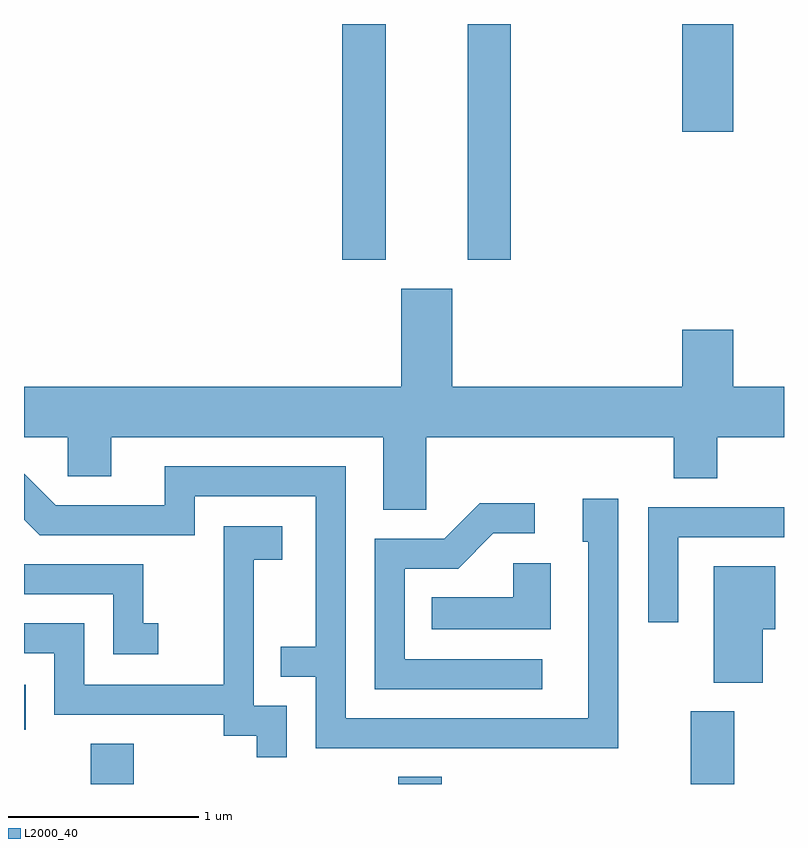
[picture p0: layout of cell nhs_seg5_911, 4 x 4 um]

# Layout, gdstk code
import gdstk
lib = gdstk.Library(unit=1e-6, precision=1e-09)
def R(c, l, rs):  # rectangles x0, y0, x1, y1
    for r in rs: c.add(gdstk.rectangle(r[:2], r[2:], *l))
def P(c, l, *ps):  # polygons
    for p in ps: c.add(gdstk.Polygon(p, *l))
L2000_40 = (2000, 40)

nhs_seg5_911 = lib.new_cell('nhs_seg5_911')
R(nhs_seg5_911, L2000_40, [(211.961,1466.072,212.189,1466.284), (213.581,1466.072,213.809,1466.109), (215.121,1466.072,215.349,1466.454), (211.611,1466.358,211.619,1466.594), (213.286,1468.831,213.514,1470.072), (213.946,1468.831,214.174,1470.072), (215.076,1469.506,215.344,1470.072)])
P(nhs_seg5_911, L2000_40, [(213.729,1467.896),(215.031,1467.896),(215.031,1467.681),(215.259,1467.681),(215.259,1467.896),(215.611,1467.896),(215.611,1468.164),(215.344,1468.164),(215.344,1468.464),(215.076,1468.464),(215.076,1468.164),(213.864,1468.164),(213.864,1468.679),(213.596,1468.679),(213.596,1468.164),(211.611,1468.164),(211.611,1467.896),(211.841,1467.896),(211.841,1467.691),(212.069,1467.691),(212.069,1467.896),(213.501,1467.896),(213.501,1467.516),(213.729,1467.516)],
  [(214.739,1467.574),(214.551,1467.574),(214.551,1467.346),(214.581,1467.346),(214.581,1466.419),(213.304,1466.419),(213.304,1467.744),(212.351,1467.744),(212.351,1467.539),(211.777,1467.539),(211.611,1467.705),(211.611,1467.464),(211.694,1467.381),(212.509,1467.381),(212.509,1467.586),(213.146,1467.586),(213.146,1466.794),(212.963,1466.794),(212.963,1466.636),(213.146,1466.636),(213.146,1466.261),(214.739,1466.261)],
  [(214.338,1466.729),(213.614,1466.729),(213.614,1467.206),(213.897,1467.206),(214.082,1467.391),(214.298,1467.391),(214.298,1467.549),(214.009,1467.549),(213.824,1467.364),(213.456,1467.364),(213.456,1466.571),(214.338,1466.571)],
  [(215.054,1467.371),(215.611,1467.371),(215.611,1467.529),(214.896,1467.529),(214.896,1466.923),(215.054,1466.923)],
  [(212.994,1466.484),(212.819,1466.484),(212.819,1467.251),(212.969,1467.251),(212.969,1467.429),(212.661,1467.429),(212.661,1466.594),(211.929,1466.594),(211.929,1466.919),(211.611,1466.919),(211.611,1466.761),(211.771,1466.761),(211.771,1466.436),(212.661,1466.436),(212.661,1466.326),(212.836,1466.326),(212.836,1466.213),(212.994,1466.213)],
  [(214.384,1467.234),(214.186,1467.234),(214.186,1467.054),(213.758,1467.054),(213.758,1466.886),(214.384,1466.886)],
  [(212.318,1466.919),(212.239,1466.919),(212.239,1467.229),(211.611,1467.229),(211.611,1467.071),(212.081,1467.071),(212.081,1466.756),(212.318,1466.756)],
  [(215.499,1466.886),(215.564,1466.886),(215.564,1467.219),(215.241,1467.219),(215.241,1466.606),(215.499,1466.606)])

lib.write_gds('nhs_seg5_911.gds')
